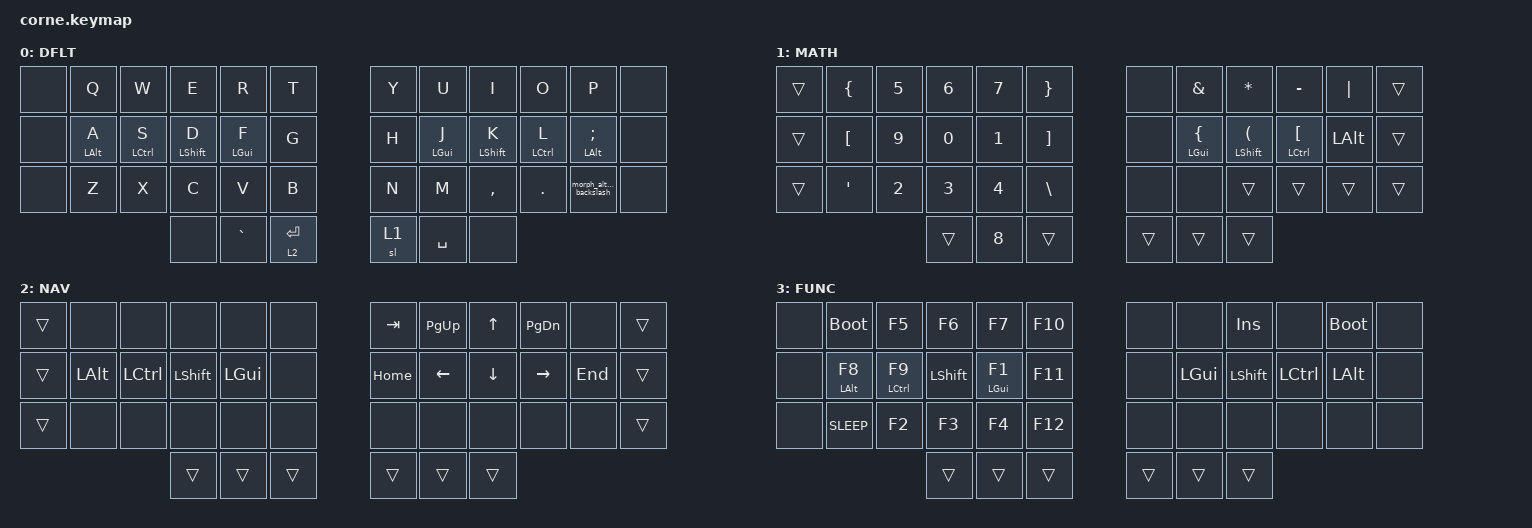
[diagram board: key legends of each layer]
/*
 * Copyright (c) 2020 The ZMK Contributors
 *
 * SPDX-License-Identifier: MIT
 */

#include <behaviors.dtsi>
#include <dt-bindings/zmk/keys.h>

/*
#define ZMK_POINTING_DEFAULT_MOVE_VAL 1500  // default: 600
#define ZMK_POINTING_DEFAULT_SCRL_VAL 20    // default: 10

#include <dt-bindings/zmk/pointing.h>
*/

#define PRIMARY_COMBO_REQUIRE_IDLE_TIMEOUT 30 // default: -1
#define PRIMARY_COMBO_TIMEOUT_MS 40 // default: 50

// modifications to builtins

&gresc {
    keep-mods = <(MOD_LSFT|MOD_RSFT)>;
    mods = <(MOD_LGUI|MOD_LSFT|MOD_RGUI|MOD_RSFT)>;
};

&sl { ignore-modifiers; };

/ {
    combos {
        compatible = "zmk,combos";

        combo_gresc {
            key-positions = <1 2>; // above resting left pinky and ring finger
            bindings = <&kp ESC>;
            require-prior-idle-ms = <PRIMARY_COMBO_REQUIRE_IDLE_TIMEOUT>;
            timeout-ms = <PRIMARY_COMBO_TIMEOUT_MS>;
        };

        combo_caps_word {
            bindings = <&caps_word>;
            key-positions = <15 20>;
            layers = <0>;
        };

        combo_sticky_func_layer {
            bindings = <&sl 3>;
            key-positions = <31 32 33>;
        };

        combo_toggle_math_layer {
            bindings = <&tog 1>;
            key-positions = <30 39>;
            layers = <0 1>;
        };

        combo_equals {
            bindings = <&kp EQUAL>;
            key-positions = <8 7>;
            timeout-ms = <PRIMARY_COMBO_TIMEOUT_MS>;
            require-prior-idle-ms = <PRIMARY_COMBO_REQUIRE_IDLE_TIMEOUT>;
        };

        combo_minus {
            bindings = <&kp MINUS>;
            key-positions = <9 8>;
            timeout-ms = <PRIMARY_COMBO_TIMEOUT_MS>;
            require-prior-idle-ms = <PRIMARY_COMBO_REQUIRE_IDLE_TIMEOUT>;
        };

        vol_up {
            bindings = <&kp C_VOLUME_UP>;
            key-positions = <5 17>;
            layers = <0>;
        };

        vol_down {
            bindings = <&kp C_VOLUME_DOWN>;
            key-positions = <17 29>;
        };

        combo_toggle_nav_layer {
            bindings = <&tog 2>;
            key-positions = <29 38>;
        };

        combo_bspc {
            bindings = <&kp BACKSPACE>;
            key-positions = <26 27>;
        };

        combo_delete {
            bindings = <&kp DELETE>;
            key-positions = <10 9 8 19>;
        };

        bootload_right {
            bindings = <&bootloader>;
            key-positions = <11 35 23>;
        };

        bootload_left {
            bindings = <&bootloader>;
            key-positions = <0 12 24>;
        };
    };

    behaviors {
        hml: home_row_mod_left {
            compatible = "zmk,behavior-hold-tap";
            #binding-cells = <2>;
            flavor = "balanced";
            tapping-term-ms = <140>;
            bindings = <&kp>, <&kp>;

            // List of keys on the left side of the keyboard

            hold-while-undecided;
            hold-trigger-key-positions = <6 7 8 9 10 11 18 19 20 21 22 23 30 31 32 33 34 35 39 40 41>;
            hold-trigger-on-release;
        };

        hmr: home_row_mod_right {
            compatible = "zmk,behavior-hold-tap";
            #binding-cells = <2>;
            flavor = "balanced";
            tapping-term-ms = <140>;
            bindings = <&kp>, <&kp>;

            // List of keys on the right side of the keyboard

            hold-while-undecided;
            hold-trigger-key-positions = <0 1 2 3 4 5 12 13 14 15 16 17 24 25 26 27 28 29 36 37 38>;
            hold-trigger-on-release;
        };

        nh_hml: no_hold_while_undecided_hml {
            compatible = "zmk,behavior-hold-tap";
            #binding-cells = <2>;
            flavor = "balanced";
            tapping-term-ms = <140>;
            bindings = <&kp>, <&kp>;

            hold-trigger-key-positions = <6 7 8 9 10 11 18 19 20 21 22 23 30 31 32 33 34 35 39 40 41>;
            hold-trigger-on-release;
        };

        nh_hmr: no_hold_while_undecided_hmr {
            compatible = "zmk,behavior-hold-tap";
            #binding-cells = <2>;
            flavor = "balanced";
            tapping-term-ms = <140>;
            bindings = <&kp>, <&kp>;

            hold-trigger-key-positions = <0 1 2 3 4 5 12 13 14 15 16 17 24 25 26 27 28 29 36 37 38>;
            hold-trigger-on-release;
        };

        bspc_del: backspace_delete {
            compatible = "zmk,behavior-mod-morph";
            #binding-cells = <0>;
            bindings = <&kp BACKSPACE>, <&kp DELETE>;

            mods = <(MOD_LSFT|MOD_RSFT)>;
            label = "bspc but del when shifted";
        };

        under_space: under_space {
            compatible = "zmk,behavior-mod-morph";
            label = "space but _ when shifted";
            bindings = <&kp SPACE>, <&kp UNDERSCORE>;

            #binding-cells = <0>;
            mods = <(MOD_RSFT|MOD_LSFT)>;
        };

        Sta_LT: mm_star_lt {
            compatible = "zmk,behavior-mod-morph";
            label = "* <";
            bindings = <&kp ASTERISK>, <&kp LESS_THAN>;

            #binding-cells = <0>;
            mods = <(MOD_LSFT|MOD_RSFT)>;
        };

        hp_lt: hold_preferred_layer_tap {
            compatible = "zmk,behavior-hold-tap";
            label = "HOLD_PREF_LAYER_TAP";
            bindings = <&mo>, <&kp>;

            #binding-cells = <2>;
            tapping-term-ms = <100>;
        };

        morph_alt_for_backslash: morph_alt_for_backslash {
            compatible = "zmk,behavior-mod-morph";
            label = "MORPH_ALT_FOR_BACKSLASH";
            bindings = <&kp FSLH>, <&kp BSLH>;

            #binding-cells = <0>;
            mods = <(MOD_LALT)>;
        };
    };

    keymap {
        compatible = "zmk,keymap";

        DFLT {
            bindings = <
&none  &kp Q           &kp W         &kp E          &kp R        &kp T              &kp Y  &kp U        &kp I          &kp O         &kp P                     &none
&none  &nh_hml LALT A  &hml LCTRL S  &hml LSHIFT D  &hml LGUI F  &kp G              &kp H  &hmr LGUI J  &hmr LSHIFT K  &hmr LCTRL L  &nh_hmr LALT SEMICOLON    &none
&none  &kp Z           &kp X         &kp C          &kp V        &kp B              &kp N  &kp M        &kp COMMA      &kp DOT       &morph_alt_for_backslash  &none
                                     &none          &kp GRAVE    &hp_lt 2 RETURN    &sl 1  &kp SPACE    &none
            >;
        };

        MATH {
            bindings = <
&trans  &kp LEFT_BRACE    &kp N5  &kp N6  &kp N7  &kp RIGHT_BRACE      &none   &kp AMPERSAND         &kp ASTERISK                  &kp MINUS                &kp PIPE  &trans
&trans  &kp LEFT_BRACKET  &kp N9  &kp N0  &kp N1  &kp RIGHT_BRACKET    &none   &hmr LGUI LEFT_BRACE  &hmr LSHIFT LEFT_PARENTHESIS  &hmr LCTRL LEFT_BRACKET  &kp LALT  &trans
&trans  &kp SINGLE_QUOTE  &kp N2  &kp N3  &kp N4  &kp BACKSLASH        &none   &none                 &trans                        &trans                   &trans    &trans
                                  &trans  &kp N8  &trans               &trans  &trans                &trans
            >;
        };

        NAV {
            bindings = <
&trans  &none     &none      &none       &none     &none     &kp TAB   &kp PAGE_UP  &kp UP    &kp PAGE_DOWN  &none    &trans
&trans  &kp LALT  &kp LCTRL  &kp LSHIFT  &kp LGUI  &none     &kp HOME  &kp LEFT     &kp DOWN  &kp RIGHT      &kp END  &trans
&trans  &none     &none      &none       &none     &none     &none     &none        &none     &none          &none    &trans
                             &trans      &trans    &trans    &trans    &trans       &trans
            >;
        };

        FUNC {
            bindings = <
&none  &bootloader      &kp F5         &kp F6      &kp F7        &kp F10    &none   &none     &kp INSERT  &none      &bootloader  &none
&none  &nh_hml LALT F8  &hml LCTRL F9  &kp LSHIFT  &hml LGUI F1  &kp F11    &none   &kp LGUI  &kp LSHIFT  &kp LCTRL  &kp LALT     &none
&none  &kp C_SLEEP      &kp F2         &kp F3      &kp F4        &kp F12    &none   &none     &none       &none      &none        &none
                                       &trans      &trans        &trans     &trans  &trans    &trans
            >;
        };
    };
};
